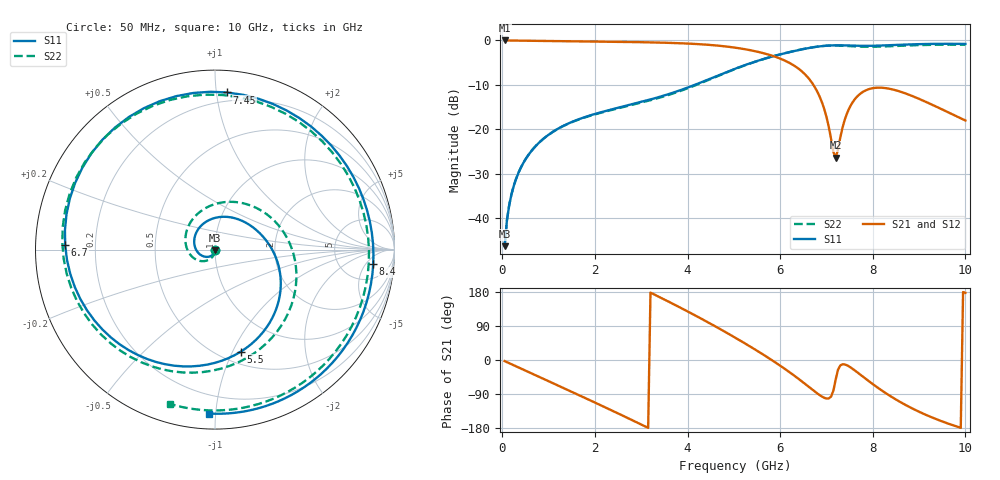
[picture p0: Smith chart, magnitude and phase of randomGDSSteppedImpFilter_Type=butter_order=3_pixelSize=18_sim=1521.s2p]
! freq	dB(S11)	phase(S11)	dB(S12)	phase(S12)
!  dB(S21)	phase(S21)	dB(S22)	phase(S22)
!S-par simulation data
#  GHz  S  DB  R 50
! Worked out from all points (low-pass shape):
!   200 points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, 50 MHz to 10 GHz, reference 50 ohm
!   highest |S21| = -0.01 dB at 50 MHz (marker M1); lowest = -26.4 dB at 7.2 GHz (marker M2)
!   |S21| within 3 dB of the highest: start of sweep to 5.687 GHz
!   lowest |S11| = -46.3 dB at 50 MHz (marker M3), VSWR 1.01, Z = 50 - j0.485 ohm
!   |S11| at or under -10 dB: start of sweep to 4.156 GHz
!   |S22| runs from -46.3 to -0.9 dB; largest |S21 - S12| = 0
!   S11 on the Smith chart (normalised r, x): 50 MHz: 1.00, -0.01; 5.5 GHz: 0.62, -1.08; 6.7 GHz: 0.09, +0.01; 7.45 GHz: 0.14, +1.07; 8.4 GHz: 10, -8; 10 GHz: 0.09, -0.96
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0.05  -46.29 -89.4  -0.01 -2.9  -0.01 -2.9  -46.27 -87.9
0.1  -40.48 -94.7  -0.01 -5.7  -0.01 -5.7  -40.45 -91.9
0.2  -34.55 -103.2  -0.02 -11.3  -0.02 -11.3  -34.52 -97.5
0.5  -26.77 -125.4  -0.05 -28.0  -0.05 -28.0  -26.74 -111.3
1.15  -20.18 -172.0  -0.12 -64.3  -0.12 -64.3  -20.20 -138.7
1.75  -17.37 144.8  -0.19 -98.1  -0.19 -98.1  -17.44 -163.4
2.65  -14.76 82.6  -0.33 -149.6  -0.33 -149.6  -14.90 155.8
3.4  -12.69 38.3  -0.49 165.7  -0.49 165.7  -12.87 111.0
4.3  -9.41 -6.4  -0.87 108.8  -0.87 108.8  -9.55 42.2
5.05  -6.27 -47.0  -1.66 57.4  -1.66 57.4  -6.34 -19.8
5.5  -4.64 -75.8  -2.52 24.5  -2.52 24.5  -4.66 -57.1
6.15  -2.76 -126.2  -4.78 -27.6  -4.78 -27.6  -2.74 -113.9
6.45  -2.06 -154.6  -6.80 -54.7  -6.80 -54.7  -2.03 -143.3
6.7  -1.57 178.3  -9.72 -78.6  -9.72 -78.6  -1.55 -170.7
6.95  -1.22 148.3  -15.37 -99.6  -15.37 -99.6  -1.23 159.0
7.2  -1.09 116.7  -26.39 -51.0  -26.39 -51.0  -1.16 126.6
7.45  -1.13 85.7  -16.24 -14.4  -16.24 -14.4  -1.26 93.8
7.9  -1.22 37.0  -11.01 -54.5  -11.01 -54.5  -1.43 39.6
8.35  -1.08 -1.5  -10.85 -93.0  -10.85 -93.0  -1.31 -4.9
8.4  -1.06 -5.3  -10.96 -96.8  -10.96 -96.8  -1.29 -9.2
9.15  -0.80 -52.2  -13.84 -144.9  -13.84 -144.9  -1.01 -62.8
10  -0.78 -92.0  -18.01 177.3  -18.01 177.3  -0.96 -106.2
